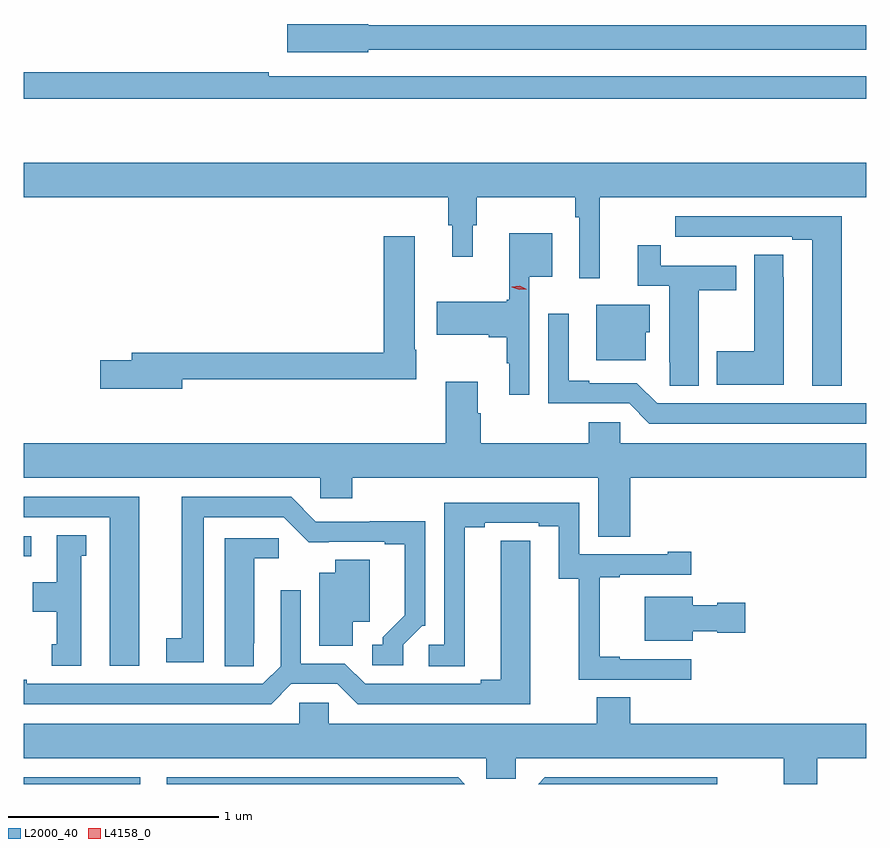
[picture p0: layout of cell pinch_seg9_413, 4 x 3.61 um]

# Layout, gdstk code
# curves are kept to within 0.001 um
import gdstk
lib = gdstk.Library(unit=1e-6, precision=1e-09)
def R(c, l, rs):  # rectangles x0, y0, x1, y1
    for r in rs: c.add(gdstk.rectangle(r[:2], r[2:], *l))
def P(c, l, *ps):  # polygons
    for p in ps: c.add(gdstk.Polygon(p, *l))
L2000_40 = (2000, 40)
L4158_0 = (4158, 0)

pinch_seg9_413 = lib.new_cell('pinch_seg9_413')
R(pinch_seg9_413, L2000_40, [(219.362,1234.925,219.916,1234.956), (219.362,1236.006,219.397,1236.102)])
P(pinch_seg9_413, L2000_40, [(220.998,1238.412),(223.362,1238.412),(223.362,1238.528),(220.998,1238.528),(220.998,1238.534),(220.614,1238.534),(220.614,1238.399),(220.998,1238.399)],
  [(223.362,1238.286),(220.526,1238.286),(220.526,1238.306),(219.362,1238.306),(219.362,1238.178),(223.362,1238.178)],
  [(222.098,1237.712),(223.362,1237.712),(223.362,1237.876),(219.362,1237.876),(219.362,1237.712),(221.377,1237.712),(221.377,1237.578),(221.396,1237.578),(221.396,1237.428),(221.494,1237.428),(221.494,1237.578),(221.513,1237.578),(221.513,1237.712),(221.98,1237.712),(221.98,1237.616),(222,1237.616),(222,1237.326),(222.098,1237.326)],
  [(223.246,1237.62),(222.456,1237.62),(222.456,1237.524),(222.568,1237.524),(222.568,1237.523),(222.734,1237.523),(222.734,1237.524),(223.01,1237.524),(223.01,1237.509),(223.106,1237.509),(223.106,1236.817),(223.246,1236.817)],
  [(221.763,1237.334),(221.872,1237.334),(221.872,1237.54),(221.666,1237.54),(221.666,1237.224),(221.655,1237.224),(221.655,1237.216),(221.322,1237.216),(221.322,1237.058),(221.57,1237.058),(221.57,1237.046),(221.655,1237.046),(221.655,1236.922),(221.666,1236.922),(221.666,1236.774),(221.763,1236.774)],
  [(220.114,1236.846),(221.226,1236.846),(221.226,1236.988),(221.218,1236.988),(221.218,1237.525),(221.072,1237.525),(221.072,1236.974),(219.875,1236.974),(219.875,1236.938),(219.726,1236.938),(219.726,1236.803),(220.114,1236.803)],
  [(222.568,1237.27),(222.745,1237.27),(222.745,1237.386),(222.386,1237.386),(222.386,1237.483),(222.278,1237.483),(222.278,1237.29),(222.428,1237.29),(222.428,1236.928),(222.429,1236.928),(222.429,1236.817),(222.568,1236.817)],
  [(222.97,1237.331),(222.969,1237.331),(222.969,1237.439),(222.83,1237.439),(222.83,1236.981),(222.653,1236.981),(222.653,1236.821),(222.97,1236.821)],
  [(222.316,1237.071),(222.334,1237.071),(222.334,1237.201),(222.08,1237.201),(222.08,1236.938),(222.316,1236.938)],
  [(223.362,1236.732),(222.369,1236.732),(222.273,1236.828),(222.046,1236.828),(222.046,1236.841),(221.95,1236.841),(221.95,1237.159),(221.853,1237.159),(221.853,1236.732),(222.237,1236.732),(222.333,1236.636),(223.362,1236.636)],
  [(222.242,1236.38),(223.362,1236.38),(223.362,1236.544),(222.195,1236.544),(222.195,1236.642),(222.044,1236.642),(222.044,1236.544),(221.531,1236.544),(221.531,1236.686),(221.518,1236.686),(221.518,1236.835),(221.366,1236.835),(221.366,1236.544),(219.362,1236.544),(219.362,1236.38),(220.77,1236.38),(220.77,1236.282),(220.922,1236.282),(220.922,1236.38),(222.089,1236.38),(222.089,1236.1),(222.242,1236.1)],
  [(219.91,1236.288),(219.362,1236.288),(219.362,1236.192),(219.77,1236.192),(219.77,1235.487),(219.91,1235.487)],
  [(221.163,1235.586),(221.253,1235.676),(221.268,1235.676),(221.268,1236.173),(221.005,1236.173),(221.005,1236.171),(220.749,1236.171),(220.632,1236.288),(220.112,1236.288),(220.112,1235.618),(220.038,1235.618),(220.038,1235.502),(220.216,1235.502),(220.216,1236.192),(220.596,1236.192),(220.714,1236.074),(221.075,1236.075),(221.075,1236.063),(221.171,1236.063),(221.171,1235.726),(221.066,1235.621),(221.066,1235.586),(221.016,1235.586),(221.016,1235.49),(221.163,1235.49)],
  [(222.532,1235.517),(222.193,1235.517),(222.193,1235.53),(222.098,1235.53),(222.098,1235.907),(222.193,1235.907),(222.193,1235.919),(222.532,1235.919),(222.532,1236.028),(222.419,1236.028),(222.419,1236.015),(222,1236.015),(222,1236.261),(221.358,1236.261),(221.358,1235.586),(221.286,1235.586),(221.286,1235.485),(221.455,1235.485),(221.455,1236.145),(221.551,1236.145),(221.551,1236.165),(221.807,1236.165),(221.807,1236.15),(221.903,1236.15),(221.903,1235.899),(221.998,1235.899),(221.998,1235.421),(222.532,1235.421)],
  [(219.634,1236.009),(219.658,1236.009),(219.658,1236.107),(219.518,1236.107),(219.518,1235.884),(219.404,1235.884),(219.404,1235.744),(219.518,1235.744),(219.518,1235.589),(219.494,1235.589),(219.494,1235.487),(219.634,1235.487)],
  [(220.455,1235.593),(220.456,1235.593),(220.456,1235.996),(220.573,1235.996),(220.573,1236.093),(220.316,1236.093),(220.316,1235.485),(220.455,1235.485)],
  [(220.633,1235.4),(220.851,1235.4),(220.947,1235.304),(221.767,1235.304),(221.766,1236.08),(221.627,1236.08),(221.627,1235.42),(221.531,1235.42),(221.531,1235.4),(220.983,1235.4),(220.887,1235.496),(220.677,1235.496),(220.677,1235.845),(220.581,1235.845),(220.581,1235.484),(220.497,1235.4),(219.376,1235.4),(219.376,1235.42),(219.362,1235.42),(219.362,1235.304),(220.537,1235.304)],
  [(220.924,1235.696),(221.005,1235.696),(221.005,1235.99),(220.841,1235.99),(220.841,1235.929),(220.766,1235.929),(220.766,1235.581),(220.924,1235.581)],
  [(222.538,1235.651),(222.654,1235.651),(222.654,1235.644),(222.787,1235.644),(222.787,1235.786),(222.654,1235.786),(222.654,1235.773),(222.538,1235.773),(222.538,1235.815),(222.311,1235.815),(222.311,1235.606),(222.538,1235.606)],
  [(223.13,1235.048),(223.362,1235.048),(223.362,1235.212),(222.242,1235.212),(222.242,1235.336),(222.082,1235.336),(222.082,1235.212),(220.809,1235.212),(220.809,1235.31),(220.671,1235.31),(220.671,1235.212),(219.362,1235.212),(219.362,1235.048),(221.559,1235.048),(221.559,1234.95),(221.697,1234.95),(221.697,1235.048),(222.97,1235.048),(222.97,1234.925),(223.13,1234.925)],
  [(221.425,1234.956),(220.04,1234.956),(220.04,1234.925),(221.456,1234.925)],
  [(222.655,1234.956),(221.835,1234.956),(221.804,1234.925),(222.655,1234.925)])
P(pinch_seg9_413, L4158_0, [(221.714,1237.271),(221.68,1237.285),(221.68,1237.286),(221.68,1237.286),(221.716,1237.29),(221.75,1237.275),(221.75,1237.275),(221.75,1237.275)])

lib.write_gds('pinch_seg9_413.gds')
